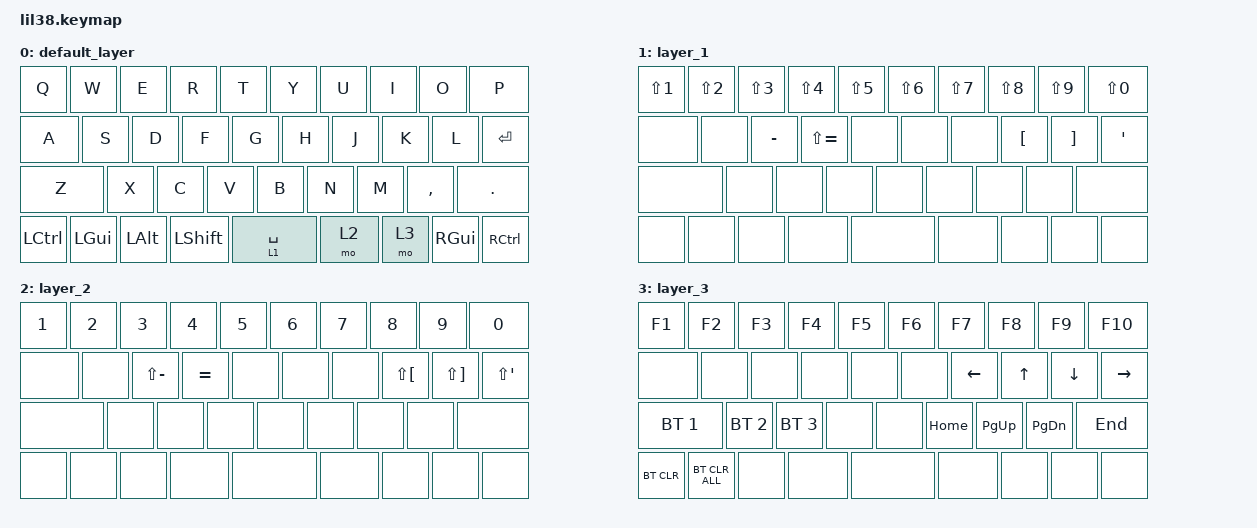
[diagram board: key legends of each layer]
#include <behaviors.dtsi>
#include <dt-bindings/zmk/keys.h>
#include <dt-bindings/zmk/bt.h>

/ {
        combos {
        compatible = "zmk,combos";
            combo_boot {
                timeout-ms = <100>;
                key-positions = <12 18 24>;
                bindings = <&bootloader>;
            };

            combo_unlock {
                timeout-ms = <100>;
                key-positions = <6 17 18>;
                bindings = <&studio_unlock>;
            };

            combo_esc {
                timeout-ms = <100>;
                key-positions = <0 1>;
                bindings = <&kp ESC>;
            };

            combo_backspace {
                timeout-ms = <50>;
                key-positions = <8 9>;
                bindings = <&kp BSPC>;
            };
            combo_tab {
                timeout-ms = <50>;
                key-positions = <10 11>;
                bindings = <&kp TAB>;
            };
            combo_semic {
                timeout-ms = <50>;
                key-positions = <18 19>;
                bindings = <&kp SEMI>;
            };
            combo_tilda {
                timeout-ms = <50>;
                key-positions = <0 10>;
                bindings = <&kp GRAVE>;
            };

            combo_slash {
                timeout-ms = <50>;
                key-positions = <27 28>;
                bindings = <&kp SLASH>;
            };
            combo_backslash {
                timeout-ms = <50>;
                key-positions = <19 28>;
                bindings = <&kp BSLH>;
            };
        };
    keymap {
        compatible = "zmk,keymap";

        default_layer {
            bindings = <
                &kp Q       &kp W    &kp E      &kp R        &kp T              &kp Y       &kp U       &kp I       &kp O       &kp P
                &kp A       &kp S    &kp D      &kp F        &kp G              &kp H       &kp J       &kp K       &kp L       &kp RET    
                &kp Z       &kp X    &kp C      &kp V        &kp B              &kp N       &kp M       &kp COMMA   &kp DOT
                &kp LCTRL    &kp LGUI &kp LALT  &kp LSHIFT   &lt 1 SPACE        &mo 2       &mo 3       &kp RGUI    &kp RCTRL
            >;
        };

        layer_1 {
            bindings = <
                &kp LS(N1)    &kp LS(N2)    &kp LS(N3)    &kp LS(N4)        &kp LS(N5)    &kp LS(N6)    &kp LS(N7)    &kp LS(N8)    &kp LS(N9)      &kp LS(N0)
                &none         &none         &kp MINUS     &kp LS(EQUAL)     &none         &none         &none         &kp LBKT      &kp RBKT        &kp SQT
                &none         &none         &none         &none             &none         &none         &none         &none         &none          
                &none         &none         &none         &none             &none         &none         &none         &none         &none
            >;
        };

        layer_2 {
            bindings = <
                &kp N1      &kp N2      &kp N3          &kp N4     &kp N5    &kp N6    &kp N7     &kp N8          &kp N9          &kp N0
                &none       &none       &kp LS(MINUS)   &kp EQUAL  &none     &none     &none      &kp LS(LBKT)    &kp LS(RBKT)    &kp LS(SQT)
                &none       &none       &none           &none      &none     &none     &none      &none           &none     
                &none       &none       &none           &none      &none     &none     &none      &none           &none         
            >;
        };

        layer_3 {
            bindings = <
                &kp F1      &kp F2      &kp F3          &kp F4     &kp F5    &kp F6    &kp F7     &kp F8          &kp F9          &kp F10
                &none       &none       &none           &none      &none     &none     &kp LEFT   &kp UP          &kp DOWN        &kp RIGHT
                &bt BT_SEL 1 &bt BT_SEL 2 &bt BT_SEL 3  &none      &none     &kp HOME  &kp PG_UP  &kp PG_DN       &kp END     
                &bt BT_CLR  &bt BT_CLR_ALL       &none           &none      &none     &none     &none      &none           &none         
            >;
        };

        extra_1{
            status = "reserved";
        };

        extra_2{
            status = "reserved";
        };

        extra_3{
            status = "reserved";
        };

        extra_4{
            status = "reserved";
        };

        extra_5{
            status = "reserved";
        };

    };
 };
